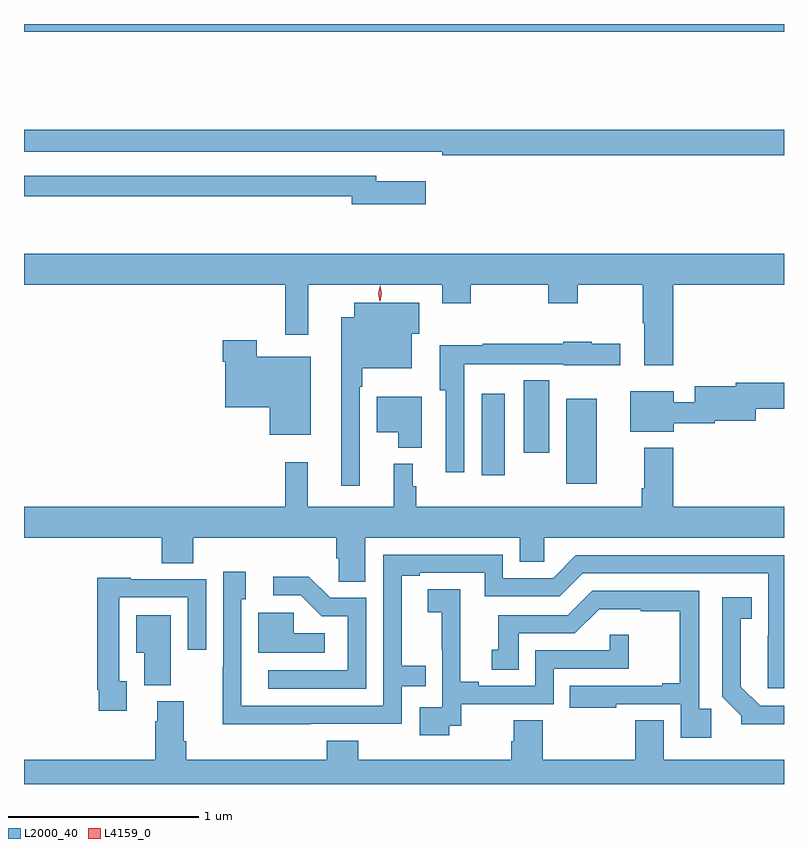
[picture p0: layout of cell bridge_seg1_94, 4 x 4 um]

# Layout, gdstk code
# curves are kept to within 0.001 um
import gdstk
lib = gdstk.Library(unit=1e-6, precision=1e-09)
def R(c, l, rs):  # rectangles x0, y0, x1, y1
    for r in rs: c.add(gdstk.rectangle(r[:2], r[2:], *l))
def P(c, l, *ps):  # polygons
    for p in ps: c.add(gdstk.Polygon(p, *l))
L2000_40 = (2000, 40)
L4159_0 = (4159, 0)

bridge_seg1_94 = lib.new_cell('bridge_seg1_94')
R(bridge_seg1_94, L2000_40, [(365.384,553.347,365.545,553.795), (364.94,553.392,365.062,553.822), (365.162,553.512,365.296,553.892), (362.531,555.728,366.531,555.768)])
P(bridge_seg1_94, L2000_40, [(366.531,555.212),(362.531,555.212),(362.531,555.096),(364.48,555.096),(364.48,555.095),(364.732,555.095),(364.732,555.076),(366.531,555.076)],
  [(364.645,554.941),(364.384,554.941),(364.384,554.97),(362.531,554.97),(362.531,554.862),(364.256,554.862),(364.256,554.819),(364.645,554.819)],
  [(365.948,554.396),(366.531,554.396),(366.531,554.56),(362.531,554.56),(362.531,554.396),(363.907,554.396),(363.907,554.133),(364.026,554.133),(364.026,554.396),(364.733,554.396),(364.733,554.297),(364.881,554.297),(364.881,554.396),(365.29,554.396),(365.29,554.297),(365.445,554.297),(365.445,554.396),(365.788,554.396),(365.788,554.192),(365.795,554.192),(365.795,553.971),(365.948,553.971)],
  [(364.299,553.859),(364.312,553.859),(364.312,553.955),(364.573,553.955),(364.573,554.137),(364.612,554.137),(364.612,554.302),(364.268,554.302),(364.268,554.224),(364.202,554.224),(364.202,553.338),(364.299,553.338)],
  [(364.039,554.017),(363.756,554.017),(363.756,554.104),(363.578,554.104),(363.578,553.991),(363.59,553.991),(363.59,553.751),(363.824,553.751),(363.824,553.607),(364.039,553.607)],
  [(364.848,553.976),(365.058,553.976),(365.058,553.977),(365.37,553.977),(365.37,553.973),(365.668,553.973),(365.668,554.086),(365.52,554.086),(365.52,554.095),(365.37,554.095),(365.37,554.086),(364.945,554.086),(364.945,554.076),(364.718,554.076),(364.718,553.841),(364.752,553.841),(364.752,553.41),(364.848,553.41)],
  [(365.95,553.668),(366.166,553.668),(366.166,553.679),(366.382,553.679),(366.382,553.744),(366.531,553.744),(366.531,553.88),(366.278,553.88),(366.278,553.861),(366.062,553.861),(366.062,553.778),(365.95,553.778),(365.95,553.834),(365.723,553.834),(365.723,553.622),(365.95,553.622)],
  [(364.624,553.807),(364.388,553.807),(364.388,553.619),(364.502,553.619),(364.502,553.538),(364.624,553.538)],
  [(365.141,552.937),(365.268,552.937),(365.268,553.064),(366.531,553.064),(366.531,553.228),(365.948,553.228),(365.948,553.537),(365.795,553.537),(365.795,553.324),(365.783,553.324),(365.783,553.228),(364.595,553.228),(364.595,553.335),(364.576,553.335),(364.576,553.453),(364.478,553.453),(364.478,553.228),(364.025,553.228),(364.025,553.462),(363.907,553.462),(363.907,553.228),(362.531,553.228),(362.531,553.064),(363.257,553.064),(363.257,552.931),(363.422,552.931),(363.422,553.064),(364.175,553.064),(364.175,552.955),(364.188,552.955),(364.188,552.832),(364.327,552.832),(364.327,553.064),(365.141,553.064)],
  [(364.04,552.084),(364.518,552.084),(364.518,552.282),(364.646,552.282),(364.646,552.391),(364.519,552.391),(364.519,552.864),(364.615,552.864),(364.615,552.879),(364.956,552.879),(364.956,552.756),(365.352,552.756),(365.472,552.876),(366.447,552.876),(366.446,552.273),(366.531,552.273),(366.531,552.972),(365.436,552.972),(365.316,552.852),(365.052,552.852),(365.052,552.975),(364.422,552.975),(364.422,552.18),(363.675,552.18),(363.675,552.741),(363.697,552.741),(363.697,552.886),(363.579,552.886),(363.578,552.083)],
  [(364.332,552.747),(364.143,552.747),(364.03,552.86),(363.843,552.86),(363.843,552.762),(363.987,552.762),(364.098,552.651),(364.236,552.651),(364.236,552.366),(363.816,552.366),(363.816,552.27),(364.332,552.27)],
  [(363.073,552.309),(363.033,552.309),(363.033,552.75),(363.393,552.75),(363.393,552.474),(363.489,552.474),(363.489,552.846),(363.093,552.846),(363.093,552.853),(362.917,552.853),(362.917,552.265),(362.925,552.265),(362.925,552.153),(363.073,552.153)],
  [(364.77,552.075),(364.832,552.075),(364.832,552.189),(365.319,552.189),(365.319,552.375),(365.714,552.375),(365.714,552.553),(365.613,552.553),(365.613,552.471),(365.223,552.471),(365.223,552.285),(364.924,552.285),(364.924,552.305),(364.828,552.305),(364.828,552.683),(364.826,552.683),(364.826,552.794),(364.656,552.794),(364.656,552.673),(364.73,552.673),(364.73,552.475),(364.731,552.475),(364.731,552.171),(364.614,552.171),(364.614,552.024),(364.77,552.024)],
  [(366.149,552.163),(366.084,552.163),(366.084,552.786),(365.523,552.786),(365.394,552.657),(365.027,552.657),(365.027,552.474),(364.994,552.474),(364.994,552.37),(365.134,552.37),(365.134,552.561),(365.43,552.561),(365.558,552.689),(365.777,552.689),(365.777,552.678),(365.983,552.678),(365.983,552.298),(365.891,552.298),(365.891,552.285),(365.404,552.285),(365.404,552.17),(365.647,552.17),(365.647,552.189),(365.988,552.189),(365.988,552.012),(366.149,552.012)],
  [(366.531,552.18),(366.405,552.18),(366.304,552.281),(366.304,552.638),(366.362,552.638),(366.362,552.751),(366.207,552.751),(366.207,552.226),(366.306,552.127),(366.306,552.083),(366.531,552.083)],
  [(364.114,552.562),(363.951,552.562),(363.951,552.669),(363.764,552.669),(363.764,552.458),(364.114,552.458)],
  [(363.304,552.655),(363.122,552.655),(363.122,552.458),(363.164,552.458),(363.164,552.289),(363.304,552.289)],
  [(366.531,551.896),(365.899,551.896),(365.899,552.104),(365.747,552.104),(365.747,551.896),(365.261,551.896),(365.261,552.104),(365.108,552.104),(365.108,551.994),(365.096,551.994),(365.096,551.896),(364.289,551.896),(364.289,551.995),(364.124,551.995),(364.124,551.896),(363.386,551.896),(363.386,551.992),(363.373,551.992),(363.373,552.204),(363.233,552.204),(363.233,552.098),(363.221,552.098),(363.221,551.896),(362.531,551.896),(362.531,551.768),(366.531,551.768)])
P(bridge_seg1_94, L4159_0, [(364.404,554.309),(364.404,554.31),(364.395,554.35),(364.405,554.391),(364.405,554.391),(364.405,554.391),(364.415,554.35),(364.405,554.31)])

lib.write_gds('bridge_seg1_94.gds')
